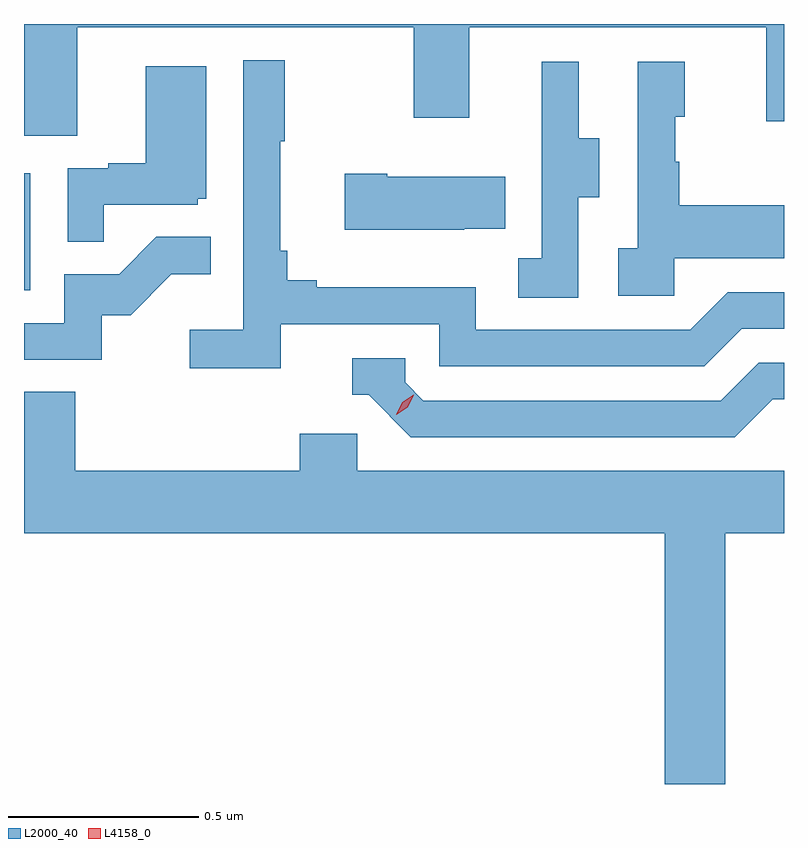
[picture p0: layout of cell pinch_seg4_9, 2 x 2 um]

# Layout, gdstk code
import gdstk
lib = gdstk.Library(unit=1e-6, precision=1e-09)
def R(c, l, rs):  # rectangles x0, y0, x1, y1
    for r in rs: c.add(gdstk.rectangle(r[:2], r[2:], *l))
def P(c, l, *ps):  # polygons
    for p in ps: c.add(gdstk.Polygon(p, *l))
L2000_40 = (2000, 40)
L4158_0 = (4158, 0)

pinch_seg4_9 = lib.new_cell('pinch_seg4_9')
R(pinch_seg4_9, L2000_40, [(1083.881,818.772,1083.898,819.079)])
P(pinch_seg4_9, L2000_40, [(1084.021,819.464),(1084.906,819.464),(1084.906,819.225),(1085.053,819.225),(1085.053,819.464),(1085.834,819.464),(1085.834,819.216),(1085.881,819.216),(1085.881,819.472),(1083.881,819.472),(1083.881,819.178),(1084.021,819.178)],
  [(1084.556,818.682),(1084.974,818.682),(1084.974,818.571),(1085.671,818.571),(1085.77,818.67),(1085.881,818.67),(1085.881,818.766),(1085.733,818.766),(1085.634,818.667),(1085.07,818.667),(1085.07,818.779),(1084.651,818.779),(1084.651,818.798),(1084.574,818.798),(1084.574,818.875),(1084.555,818.875),(1084.555,819.163),(1084.567,819.163),(1084.567,819.376),(1084.458,819.376),(1084.458,818.668),(1084.317,818.668),(1084.317,818.566),(1084.556,818.566)],
  [(1085.592,818.855),(1085.881,818.855),(1085.881,818.995),(1085.605,818.995),(1085.605,819.11),(1085.595,819.11),(1085.595,819.228),(1085.62,819.228),(1085.62,819.373),(1085.496,819.373),(1085.496,818.882),(1085.445,818.882),(1085.445,818.757),(1085.592,818.757)],
  [(1085.34,819.016),(1085.395,819.016),(1085.395,819.171),(1085.341,819.171),(1085.341,819.373),(1085.243,819.373),(1085.243,819.159),(1085.244,819.159),(1085.244,818.855),(1085.181,818.855),(1085.181,818.752),(1085.34,818.752)],
  [(1084.091,818.997),(1084.338,818.997),(1084.338,819.012),(1084.36,819.012),(1084.36,819.361),(1084.202,819.361),(1084.202,819.106),(1084.103,819.106),(1084.103,819.093),(1083.996,819.093),(1083.996,818.899),(1084.091,818.899)],
  [(1085.039,818.933),(1085.147,818.933),(1085.147,819.07),(1084.837,819.07),(1084.837,819.078),(1084.725,819.078),(1084.725,818.93),(1085.039,818.93)],
  [(1084.086,818.706),(1084.162,818.706),(1084.269,818.813),(1084.373,818.813),(1084.373,818.912),(1084.229,818.912),(1084.131,818.814),(1083.987,818.814),(1083.987,818.685),(1083.881,818.685),(1083.881,818.589),(1084.086,818.589)],
  [(1085.851,818.484),(1085.881,818.484),(1085.881,818.58),(1085.814,818.58),(1085.715,818.481),(1084.932,818.481),(1084.884,818.529),(1084.884,818.592),(1084.745,818.592),(1084.745,818.496),(1084.788,818.496),(1084.899,818.385),(1085.752,818.385)],
  [(1085.727,818.132),(1085.881,818.132),(1085.881,818.296),(1084.758,818.296),(1084.758,818.394),(1084.607,818.394),(1084.607,818.296),(1084.016,818.296),(1084.016,818.504),(1083.881,818.504),(1083.881,818.132),(1085.567,818.132),(1085.567,817.472),(1085.727,817.472)])
P(pinch_seg4_9, L4158_0, [(1084.86,818.444),(1084.86,818.444),(1084.876,818.476),(1084.907,818.496),(1084.907,818.496),(1084.907,818.496),(1084.891,818.463),(1084.86,818.444)])

lib.write_gds('pinch_seg4_9.gds')
